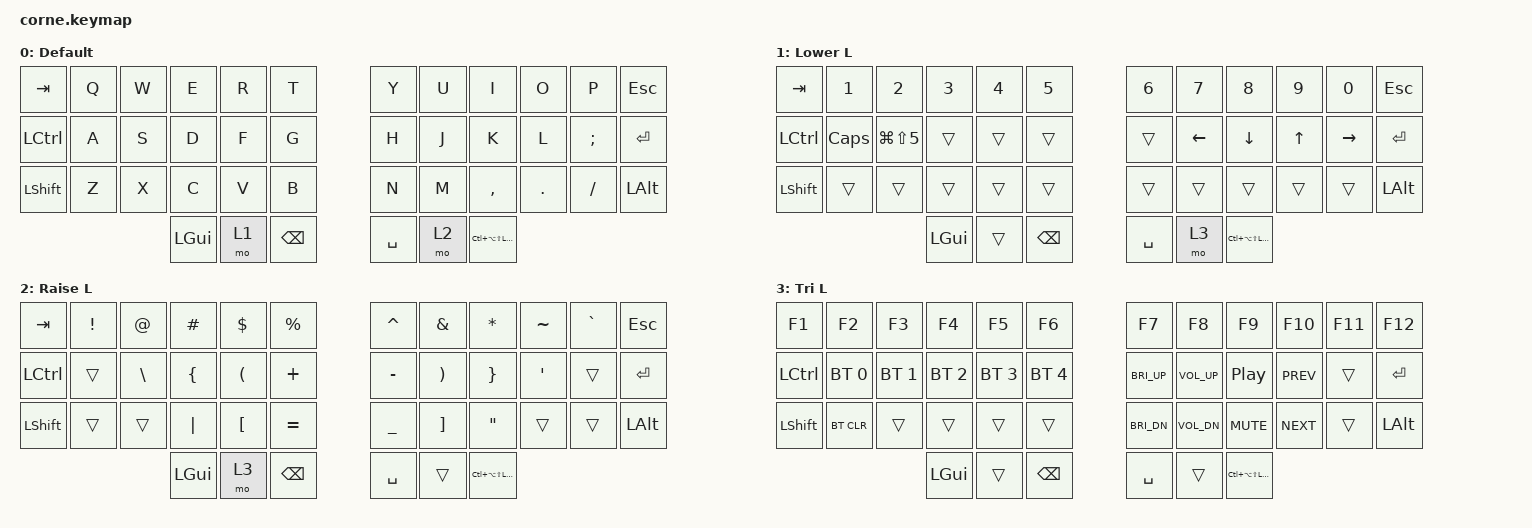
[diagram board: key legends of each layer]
/*
 * Copyright (c) 2020 The ZMK Contributors
 *
 * SPDX-License-Identifier: MIT
 */

#include <behaviors.dtsi>
#include <dt-bindings/zmk/keys.h>
#include <dt-bindings/zmk/bt.h>

/ {
        keymap {
                compatible = "zmk,keymap";

                default_layer {
                        display-name = "Default";
                        bindings = <
// ╭──────────┬──────────┬──────────┬──────────┬──────────┬──────────╮ ╭──────────┬──────────┬──────────┬──────────┬──────────┬──────────╮
// | TAB      | Q        | W        | E        | R        | T        | | Y        | U        | I        | O        | P        | ESC      |
    &kp TAB    &kp Q      &kp W      &kp E      &kp R      &kp T        &kp Y      &kp U      &kp I      &kp O      &kp P      &kp ESC
// ├──────────┼──────────┼──────────┼──────────┼──────────┼──────────┤ ├──────────┼──────────┼──────────┼──────────┼──────────┼──────────┤
// | CTRL     | A        | S        | D        | F        | G        | | H        | J        | K        | L        | ;        | ENT      |
    &kp LCTRL  &kp A      &kp S      &kp D      &kp F      &kp G        &kp H      &kp J      &kp K      &kp L      &kp SEMI   &kp RET
// ├──────────┼──────────┼──────────┼──────────┼──────────┼──────────┤ ├──────────┼──────────┼──────────┼──────────┼──────────┼──────────┤
// | SHFT     | Z        | X        | C        | V        | B        | | N        | M        | ,        | .        | /        | ALT      |
    &kp LSHFT  &kp Z      &kp X      &kp C      &kp V      &kp B        &kp N      &kp M      &kp COMMA  &kp DOT    &kp FSLH   &kp LALT
// ╰──────────┴──────────┴──────────┼──────────┼──────────┼──────────┤ ├──────────┼──────────┼──────────┼──────────┴──────────┴──────────╯
//                                  | GUI      | LWR      | BSPC     | | SPC      | RSE      | HYPER    |
                                     &kp LGUI   &mo 1      &kp BSPC     &kp SPACE  &mo 2      &kp LC(LA(LS(LGUI)))
//                                  ╰──────────┴──────────┴──────────╯ ╰──────────┴──────────┴──────────╯
                        >;
                };
                lower_layer {
                        display-name = "Lower L";
                        bindings = <
// ╭──────────┬──────────┬──────────┬──────────┬──────────┬──────────╮ ╭──────────┬──────────┬──────────┬──────────┬──────────┬──────────╮
// | TAB      | 1        | 2        | 3        | 4        | 5        | | 6        | 7        | 8        | 9        | 0        | ESC      |
    &kp TAB    &kp N1     &kp N2     &kp N3     &kp N4     &kp N5       &kp N6     &kp N7     &kp N8     &kp N9     &kp N0     &kp ESC
// ├──────────┼──────────┼──────────┼──────────┼──────────┼──────────┤ ├──────────┼──────────┼──────────┼──────────┼──────────┼──────────┤
// | CTRL     | CAPS     | PSCRN    |          |          |          | |          | LFT      | DWN      | UP       | RGT      | ENT      |
    &kp LCTRL  &kp CAPS   &kp LG(LS(N5)) &trans &trans     &trans       &trans     &kp LEFT   &kp DOWN   &kp UP     &kp RIGHT  &kp RET
// ├──────────┼──────────┼──────────┼──────────┼──────────┼──────────┤ ├──────────┼──────────┼──────────┼──────────┼──────────┼──────────┤
// | SHFT     |          |          |          |          |          | |          |          |          |          |          | ALT      |
    &kp LSHFT  &trans     &trans     &trans     &trans     &trans       &trans     &trans     &trans     &trans     &trans     &kp LALT
// ╰──────────┴──────────┴──────────┼──────────┼──────────┼──────────┤ ├──────────┼──────────┼──────────┼──────────┴──────────┴──────────╯
//                                  | GUI      |          | BSPC     | | SPC      | TRI      | HYPER    |
                                     &kp LGUI   &trans     &kp BSPC     &kp SPACE  &mo 3      &kp LC(LA(LS(LGUI)))
//                                  ╰──────────┴──────────┴──────────╯ ╰──────────┴──────────┴──────────╯
                        >;
                };

                raise_layer {
                        display-name = "Raise L";
                        bindings = <
// ╭──────────┬──────────┬──────────┬──────────┬──────────┬──────────╮ ╭──────────┬──────────┬──────────┬──────────┬──────────┬──────────╮
// | TAB      | !        | @        | #        | $        | %        | | ^        | &        | *        | ~        | `        | ESC      |
    &kp  TAB   &kp EXCL   &kp AT     &kp HASH   &kp DLLR   &kp PRCNT    &kp CARET  &kp AMPS   &kp ASTRK  &kp TILDE  &kp GRAVE  &kp ESC
// ├──────────┼──────────┼──────────┼──────────┼──────────┼──────────┤ ├──────────┼──────────┼──────────┼──────────┼──────────┼──────────┤
// | CTRL     |          | \        | {        | (        | +        | | -        | )        | }        | '        |          | ENT      |
    &kp LCTRL  &trans     &kp BSLH   &kp LBRC   &kp LPAR   &kp PLUS     &kp MINUS  &kp RPAR   &kp RBRC   &kp SQT    &trans     &kp RET
// ├──────────┼──────────┼──────────┼──────────┼──────────┼──────────┤ ├──────────┼──────────┼──────────┼──────────┼──────────┼──────────┤
// | SHFT     |          |          | |        | [        | =        | | _        | ]        | "        |          |          | ALT      |
    &kp LSHFT  &trans     &trans     &kp PIPE   &kp LBKT   &kp EQUAL    &kp UNDER  &kp RBKT   &kp DQT    &trans     &trans     &kp LALT
// ╰──────────┴──────────┴──────────┼──────────┼──────────┼──────────┤ ├──────────┼──────────┼──────────┼──────────┴──────────┴──────────╯
//                                  | GUI      | TRI      | BSPC     | | SPC      |          | HYPER    |
                                     &kp LGUI   &mo 3      &kp BSPC     &kp SPACE  &trans     &kp LC(LA(LS(LGUI)))
//                                  ╰──────────┴──────────┴──────────╯ ╰──────────┴──────────┴──────────╯
                        >;
                };

                tri_layer {
                        display-name = "Tri L";
                        bindings = <
// ╭──────────┬──────────┬──────────┬──────────┬──────────┬──────────╮ ╭──────────┬──────────┬──────────┬──────────┬──────────┬──────────╮
// | F1       | F2       | F3       | F4       | F5       | F6       | | F7       | F8       | F9       | F10      | F11      | F12      |
    &kp  F1    &kp F2     &kp F3     &kp F4     &kp F5     &kp F6       &kp F7     &kp F8     &kp F9     &kp F10    &kp F11    &kp F12
// ├──────────┼──────────┼──────────┼──────────┼──────────┼──────────┤ ├──────────┼──────────┼──────────┼──────────┼──────────┼──────────┤
// | CTRL     | BT1      | BT2      | BT3      | BT4      | BT5      | | BRI_UP   | VOL_UP   | PLAY     | PREV     |          | ENT      |
    &kp LCTRL &bt BT_SEL 0 &bt BT_SEL 1 &bt BT_SEL 2 &bt BT_SEL 3 &bt BT_SEL 4 &kp C_BRI_UP &kp C_VOL_UP &kp C_PP &kp C_PREV &trans &kp RET
// ├──────────┼──────────┼──────────┼──────────┼──────────┼──────────┤ ├──────────┼──────────┼──────────┼──────────┼──────────┼──────────┤
// | SHFT     | CLEAR BT |          |          |          |          | | BRI_DOWN | VOL_DOWN | VOL_MUTE | NEXT     |          | ALT      |
    &kp LSHFT  &bt BT_CLR &trans     &trans     &trans     &trans       &kp C_BRI_DN &kp C_VOL_DN &kp C_MUTE &kp C_NEXT &trans &kp LALT
// ╰──────────┴──────────┴──────────┼──────────┼──────────┼──────────┤ ├──────────┼──────────┼──────────┼──────────┴──────────┴──────────╯
//                                  | GUI      |          | BSPC     | | SPC      |          | HYPER    |
                                     &kp LGUI   &trans     &kp BSPC     &kp SPACE  &trans     &kp LC(LA(LS(LGUI)))
//                                  ╰──────────┴──────────┴──────────╯ ╰──────────┴──────────┴──────────╯
                        >;
                };
        };
};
